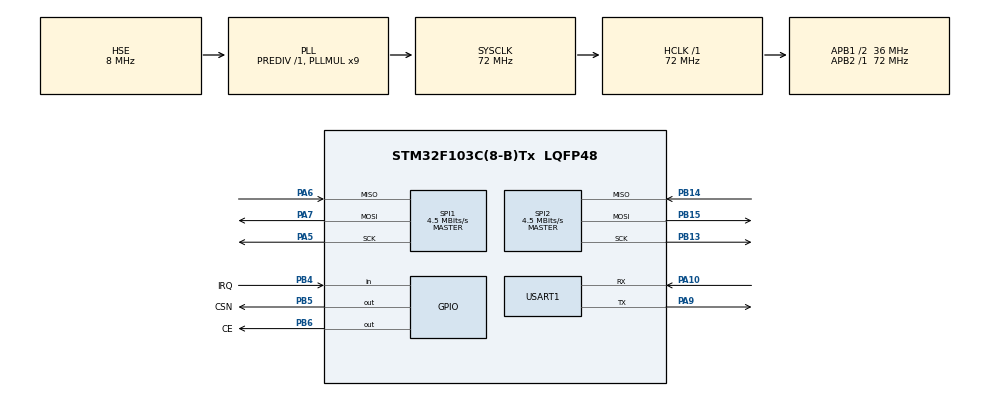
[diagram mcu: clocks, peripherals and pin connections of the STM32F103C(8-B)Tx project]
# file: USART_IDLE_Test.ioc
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Dma.Request0=SPI1_RX
Dma.Request1=SPI1_TX
Dma.Request2=SPI2_RX
Dma.Request3=SPI2_TX
Dma.SPI1_RX.0.Direction=DMA_PERIPH_TO_MEMORY
Dma.SPI1_RX.0.Instance=DMA1_Channel2
Dma.SPI1_RX.0.MemDataAlignment=DMA_MDATAALIGN_BYTE
Dma.SPI1_RX.0.MemInc=DMA_MINC_ENABLE
Dma.SPI1_RX.0.Mode=DMA_NORMAL
Dma.SPI1_RX.0.PeriphDataAlignment=DMA_PDATAALIGN_BYTE
Dma.SPI1_RX.0.PeriphInc=DMA_PINC_DISABLE
Dma.SPI1_RX.0.Priority=DMA_PRIORITY_LOW
Dma.SPI1_TX.1.Direction=DMA_MEMORY_TO_PERIPH
Dma.SPI1_TX.1.Instance=DMA1_Channel3
Dma.SPI1_TX.1.MemDataAlignment=DMA_MDATAALIGN_BYTE
Dma.SPI1_TX.1.MemInc=DMA_MINC_ENABLE
Dma.SPI1_TX.1.Mode=DMA_NORMAL
Dma.SPI1_TX.1.PeriphDataAlignment=DMA_PDATAALIGN_BYTE
Dma.SPI1_TX.1.PeriphInc=DMA_PINC_DISABLE
Dma.SPI1_TX.1.Priority=DMA_PRIORITY_LOW
Dma.SPI2_RX.2.Direction=DMA_PERIPH_TO_MEMORY
Dma.SPI2_RX.2.Instance=DMA1_Channel4
Dma.SPI2_RX.2.MemDataAlignment=DMA_MDATAALIGN_BYTE
Dma.SPI2_RX.2.MemInc=DMA_MINC_ENABLE
Dma.SPI2_RX.2.Mode=DMA_NORMAL
Dma.SPI2_RX.2.PeriphDataAlignment=DMA_PDATAALIGN_BYTE
Dma.SPI2_RX.2.PeriphInc=DMA_PINC_DISABLE
Dma.SPI2_RX.2.Priority=DMA_PRIORITY_LOW
Dma.SPI2_TX.3.Direction=DMA_MEMORY_TO_PERIPH
Dma.SPI2_TX.3.Instance=DMA1_Channel5
Dma.SPI2_TX.3.MemDataAlignment=DMA_MDATAALIGN_BYTE
Dma.SPI2_TX.3.MemInc=DMA_MINC_ENABLE
Dma.SPI2_TX.3.Mode=DMA_NORMAL
Dma.SPI2_TX.3.PeriphDataAlignment=DMA_PDATAALIGN_BYTE
Dma.SPI2_TX.3.PeriphInc=DMA_PINC_DISABLE
Dma.SPI2_TX.3.Priority=DMA_PRIORITY_LOW
Mcu.Family=STM32F1
Mcu.Name=STM32F103C(8-B)Tx
Mcu.Package=LQFP48
NVIC.DMA1_Channel2_IRQn=true\:0\:0\:false\:false\:true\:false\:true\:true
NVIC.DMA1_Channel3_IRQn=true\:0\:0\:false\:false\:true\:false\:true\:true
NVIC.DMA1_Channel4_IRQn=true\:0\:0\:false\:false\:true\:false\:true\:true
NVIC.DMA1_Channel5_IRQn=true\:0\:0\:false\:false\:true\:false\:true\:true
NVIC.PriorityGroup=NVIC_PRIORITYGROUP_4
NVIC.USART1_IRQn=true\:1\:0\:true\:false\:true\:true\:true\:true
PA10.Mode=Asynchronous
PA10.Signal=USART1_RX
PA5.Mode=Full_Duplex_Master
PA5.Signal=SPI1_SCK
PA6.Mode=Full_Duplex_Master
PA6.Signal=SPI1_MISO
PA7.Mode=Full_Duplex_Master
PA7.Signal=SPI1_MOSI
PA9.Mode=Asynchronous
PA9.Signal=USART1_TX
PB13.Mode=Full_Duplex_Master
PB13.Signal=SPI2_SCK
PB14.Mode=Full_Duplex_Master
PB14.Signal=SPI2_MISO
PB15.Mode=Full_Duplex_Master
PB15.Signal=SPI2_MOSI
PB4.GPIO_Label=IRQ
PB4.Signal=GPIO_Input
PB5.GPIO_Label=CSN
PB5.GPIO_Speed=GPIO_SPEED_FREQ_HIGH
PB5.PinState=GPIO_PIN_SET
PB5.Signal=GPIO_Output
PB6.GPIO_Label=CE
PB6.GPIO_Speed=GPIO_SPEED_FREQ_HIGH
PB6.PinState=GPIO_PIN_SET
PB6.Signal=GPIO_Output
PD0-OSC_IN.Mode=HSE-External-Oscillator
PD0-OSC_IN.Signal=RCC_OSC_IN
PD1-OSC_OUT.Mode=HSE-External-Oscillator
PD1-OSC_OUT.Signal=RCC_OSC_OUT
ProjectManager.HeapSize=0x200
ProjectManager.StackSize=0x400
ProjectManager.TargetToolchain=MDK-ARM V5.32
RCC.AHBFreq_Value=72000000
RCC.APB1CLKDivider=RCC_HCLK_DIV2
RCC.APB1Freq_Value=36000000
RCC.APB1TimFreq_Value=72000000
RCC.APB2Freq_Value=72000000
RCC.APB2TimFreq_Value=72000000
RCC.HCLKFreq_Value=72000000
RCC.PLLMUL=RCC_PLL_MUL9
RCC.PLLSourceVirtual=RCC_PLLSOURCE_HSE
RCC.SYSCLKFreq_VALUE=72000000
RCC.SYSCLKSource=RCC_SYSCLKSOURCE_PLLCLK
RCC.USBFreq_Value=72000000
RTC.Format=RTC_FORMAT_BIN
SPI1.BaudRatePrescaler=SPI_BAUDRATEPRESCALER_16
SPI1.CalculateBaudRate=4.5 MBits/s
SPI1.Direction=SPI_DIRECTION_2LINES
SPI1.Mode=SPI_MODE_MASTER
SPI1.VirtualType=VM_MASTER
SPI2.BaudRatePrescaler=SPI_BAUDRATEPRESCALER_8
SPI2.CalculateBaudRate=4.5 MBits/s
SPI2.Direction=SPI_DIRECTION_2LINES
SPI2.Mode=SPI_MODE_MASTER
SPI2.VirtualType=VM_MASTER
USART1.VirtualMode=VM_ASYNC
VP_RTC_VS_RTC_Activate.Mode=RTC_Enabled
VP_RTC_VS_RTC_Calendar.Mode=RTC_Calendar
VP_SYS_VS_ND.Mode=No_Debug
board=custom

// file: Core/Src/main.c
/* USER CODE BEGIN Header */
/**
  ******************************************************************************
  * @file           : main.c
  * @brief          : Main program body
  ******************************************************************************
  * @attention
  *
  * Copyright (c) 2023 STMicroelectronics.
  * All rights reserved.
  *
  * This software is licensed under terms that can be found in the LICENSE file
  * in the root directory of this software component.
  * If no LICENSE file comes with this software, it is provided AS-IS.
  *
  ******************************************************************************
  */
/* USER CODE END Header */
#include "main.h"

/* USER CODE BEGIN Includes */
#include <stdio.h>
#include <string.h>
#include <stdarg.h>
/* USER CODE END Includes */

RTC_HandleTypeDef hrtc;

SPI_HandleTypeDef hspi1;
SPI_HandleTypeDef hspi2;
DMA_HandleTypeDef hdma_spi1_rx;
DMA_HandleTypeDef hdma_spi1_tx;
DMA_HandleTypeDef hdma_spi2_rx;
DMA_HandleTypeDef hdma_spi2_tx;

UART_HandleTypeDef huart1;

/* USER CODE BEGIN PV */
extern uint8_t uart_rx_buffer[128];
RTC_TimeTypeDef time;
RTC_DateTypeDef date;
/* USER CODE END PV */

void SystemClock_Config(void);
static void MX_GPIO_Init(void);
static void MX_DMA_Init(void);
static void MX_RTC_Init(void);
static void MX_USART1_UART_Init(void);
static void MX_SPI1_Init(void);
static void MX_SPI2_Init(void);

/* USER CODE BEGIN 0 */
char  DebugBuf[64];
void Debug(char *p,...)
{
	va_list ap;
	va_start(ap,p);
	vsprintf(DebugBuf,p,ap);
	va_end(ap);
	HAL_UART_Transmit(&huart1,(uint8_t *)DebugBuf,strlen(DebugBuf),50);
}

/* USER CODE END 0 */

int main(void)
{

  /* MCU Configuration--------------------------------------------------------*/

  /* Reset of all peripherals, Initializes the Flash interface and the Systick. */
  HAL_Init();

  /* Configure the system clock */
  SystemClock_Config();

  /* Initialize all configured peripherals */
  MX_GPIO_Init();
  MX_DMA_Init();
  MX_RTC_Init();
  MX_USART1_UART_Init();
  MX_SPI1_Init();
  MX_SPI2_Init();

  /* Infinite loop */
  while (1)
  {

  }
}

void SystemClock_Config(void)
{
  RCC_OscInitTypeDef RCC_OscInitStruct = {0};
  RCC_ClkInitTypeDef RCC_ClkInitStruct = {0};
  RCC_PeriphCLKInitTypeDef PeriphClkInit = {0};

  /** Initializes the RCC Oscillators according to the specified parameters
  * in the RCC_OscInitTypeDef structure.
  */
  RCC_OscInitStruct.OscillatorType = RCC_OSCILLATORTYPE_LSI|RCC_OSCILLATORTYPE_HSE;
  RCC_OscInitStruct.HSEState = RCC_HSE_ON;
  RCC_OscInitStruct.HSEPredivValue = RCC_HSE_PREDIV_DIV1;
  RCC_OscInitStruct.HSIState = RCC_HSI_ON;
  RCC_OscInitStruct.LSIState = RCC_LSI_ON;
  RCC_OscInitStruct.PLL.PLLState = RCC_PLL_ON;
  RCC_OscInitStruct.PLL.PLLSource = RCC_PLLSOURCE_HSE;
  RCC_OscInitStruct.PLL.PLLMUL = RCC_PLL_MUL9;
  if (HAL_RCC_OscConfig(&RCC_OscInitStruct) != HAL_OK)
  {
    Error_Handler();
  }

  /** Initializes the CPU, AHB and APB buses clocks
  */
  RCC_ClkInitStruct.ClockType = RCC_CLOCKTYPE_HCLK|RCC_CLOCKTYPE_SYSCLK
                              |RCC_CLOCKTYPE_PCLK1|RCC_CLOCKTYPE_PCLK2;
  RCC_ClkInitStruct.SYSCLKSource = RCC_SYSCLKSOURCE_PLLCLK;
  RCC_ClkInitStruct.AHBCLKDivider = RCC_SYSCLK_DIV1;
  RCC_ClkInitStruct.APB1CLKDivider = RCC_HCLK_DIV2;
  RCC_ClkInitStruct.APB2CLKDivider = RCC_HCLK_DIV1;

  if (HAL_RCC_ClockConfig(&RCC_ClkInitStruct, FLASH_LATENCY_2) != HAL_OK)
  {
    Error_Handler();
  }
  PeriphClkInit.PeriphClockSelection = RCC_PERIPHCLK_RTC;
  PeriphClkInit.RTCClockSelection = RCC_RTCCLKSOURCE_LSI;
  if (HAL_RCCEx_PeriphCLKConfig(&PeriphClkInit) != HAL_OK)
  {
    Error_Handler();
  }
}

static void MX_RTC_Init(void)
{

  RTC_TimeTypeDef sTime = {0};
  RTC_DateTypeDef DateToUpdate = {0};

  /** Initialize RTC Only
  */
  hrtc.Instance = RTC;
  hrtc.Init.AsynchPrediv = RTC_AUTO_1_SECOND;
  hrtc.Init.OutPut = RTC_OUTPUTSOURCE_ALARM;
  if (HAL_RTC_Init(&hrtc) != HAL_OK)
  {
    Error_Handler();
  }

  /** Initialize RTC and set the Time and Date
  */
  sTime.Hours = 0;
  sTime.Minutes = 0;
  sTime.Seconds = 0;

  if (HAL_RTC_SetTime(&hrtc, &sTime, RTC_FORMAT_BIN) != HAL_OK)
  {
    Error_Handler();
  }
  DateToUpdate.WeekDay = RTC_WEEKDAY_MONDAY;
  DateToUpdate.Month = RTC_MONTH_JANUARY;
  DateToUpdate.Date = 1;
  DateToUpdate.Year = 0;

  if (HAL_RTC_SetDate(&hrtc, &DateToUpdate, RTC_FORMAT_BIN) != HAL_OK)
  {
    Error_Handler();
  }

}

static void MX_SPI1_Init(void)
{

  /* SPI1 parameter configuration*/
  hspi1.Instance = SPI1;
  hspi1.Init.Mode = SPI_MODE_MASTER;
  hspi1.Init.Direction = SPI_DIRECTION_2LINES;
  hspi1.Init.DataSize = SPI_DATASIZE_8BIT;
  hspi1.Init.CLKPolarity = SPI_POLARITY_LOW;
  hspi1.Init.CLKPhase = SPI_PHASE_1EDGE;
  hspi1.Init.NSS = SPI_NSS_SOFT;
  hspi1.Init.BaudRatePrescaler = SPI_BAUDRATEPRESCALER_16;
  hspi1.Init.FirstBit = SPI_FIRSTBIT_MSB;
  hspi1.Init.TIMode = SPI_TIMODE_DISABLE;
  hspi1.Init.CRCCalculation = SPI_CRCCALCULATION_DISABLE;
  hspi1.Init.CRCPolynomial = 10;
  if (HAL_SPI_Init(&hspi1) != HAL_OK)
  {
    Error_Handler();
  }

}

static void MX_SPI2_Init(void)
{

  /* SPI2 parameter configuration*/
  hspi2.Instance = SPI2;
  hspi2.Init.Mode = SPI_MODE_MASTER;
  hspi2.Init.Direction = SPI_DIRECTION_2LINES;
  hspi2.Init.DataSize = SPI_DATASIZE_8BIT;
  hspi2.Init.CLKPolarity = SPI_POLARITY_LOW;
  hspi2.Init.CLKPhase = SPI_PHASE_1EDGE;
  hspi2.Init.NSS = SPI_NSS_SOFT;
  hspi2.Init.BaudRatePrescaler = SPI_BAUDRATEPRESCALER_8;
  hspi2.Init.FirstBit = SPI_FIRSTBIT_MSB;
  hspi2.Init.TIMode = SPI_TIMODE_DISABLE;
  hspi2.Init.CRCCalculation = SPI_CRCCALCULATION_DISABLE;
  hspi2.Init.CRCPolynomial = 10;
  if (HAL_SPI_Init(&hspi2) != HAL_OK)
  {
    Error_Handler();
  }

}

static void MX_USART1_UART_Init(void)
{

  huart1.Instance = USART1;
  huart1.Init.BaudRate = 115200;
  huart1.Init.WordLength = UART_WORDLENGTH_8B;
  huart1.Init.StopBits = UART_STOPBITS_1;
  huart1.Init.Parity = UART_PARITY_NONE;
  huart1.Init.Mode = UART_MODE_TX_RX;
  huart1.Init.HwFlowCtl = UART_HWCONTROL_NONE;
  huart1.Init.OverSampling = UART_OVERSAMPLING_16;
  if (HAL_UART_Init(&huart1) != HAL_OK)
  {
    Error_Handler();
  }
  /* USER CODE BEGIN USART1_Init 2 */
	__HAL_UART_ENABLE_IT(&huart1,UART_IT_IDLE);
	HAL_UART_Receive_IT(&huart1,uart_rx_buffer,sizeof(uart_rx_buffer));
  /* USER CODE END USART1_Init 2 */

}

static void MX_DMA_Init(void)
{

  /* DMA controller clock enable */
  __HAL_RCC_DMA1_CLK_ENABLE();

  /* DMA interrupt init */
  /* DMA1_Channel2_IRQn interrupt configuration */
  HAL_NVIC_SetPriority(DMA1_Channel2_IRQn, 0, 0);
  HAL_NVIC_EnableIRQ(DMA1_Channel2_IRQn);
  /* DMA1_Channel3_IRQn interrupt configuration */
  HAL_NVIC_SetPriority(DMA1_Channel3_IRQn, 0, 0);
  HAL_NVIC_EnableIRQ(DMA1_Channel3_IRQn);
  /* DMA1_Channel4_IRQn interrupt configuration */
  HAL_NVIC_SetPriority(DMA1_Channel4_IRQn, 0, 0);
  HAL_NVIC_EnableIRQ(DMA1_Channel4_IRQn);
  /* DMA1_Channel5_IRQn interrupt configuration */
  HAL_NVIC_SetPriority(DMA1_Channel5_IRQn, 0, 0);
  HAL_NVIC_EnableIRQ(DMA1_Channel5_IRQn);

}

static void MX_GPIO_Init(void)
{
  GPIO_InitTypeDef GPIO_InitStruct = {0};

  /* GPIO Ports Clock Enable */
  __HAL_RCC_GPIOD_CLK_ENABLE();
  __HAL_RCC_GPIOA_CLK_ENABLE();
  __HAL_RCC_GPIOB_CLK_ENABLE();

  /*Configure GPIO pin Output Level */
  HAL_GPIO_WritePin(GPIOB, CSN_Pin|CE_Pin, GPIO_PIN_SET);

  /*Configure GPIO pin : IRQ_Pin */
  GPIO_InitStruct.Pin = IRQ_Pin;
  GPIO_InitStruct.Mode = GPIO_MODE_INPUT;
  GPIO_InitStruct.Pull = GPIO_NOPULL;
  HAL_GPIO_Init(IRQ_GPIO_Port, &GPIO_InitStruct);

  /*Configure GPIO pins : CSN_Pin CE_Pin */
  GPIO_InitStruct.Pin = CSN_Pin|CE_Pin;
  GPIO_InitStruct.Mode = GPIO_MODE_OUTPUT_PP;
  GPIO_InitStruct.Pull = GPIO_NOPULL;
  GPIO_InitStruct.Speed = GPIO_SPEED_FREQ_HIGH;
  HAL_GPIO_Init(GPIOB, &GPIO_InitStruct);

}

void Error_Handler(void)
{
  __disable_irq();
  while (1)
  {
  }
}
